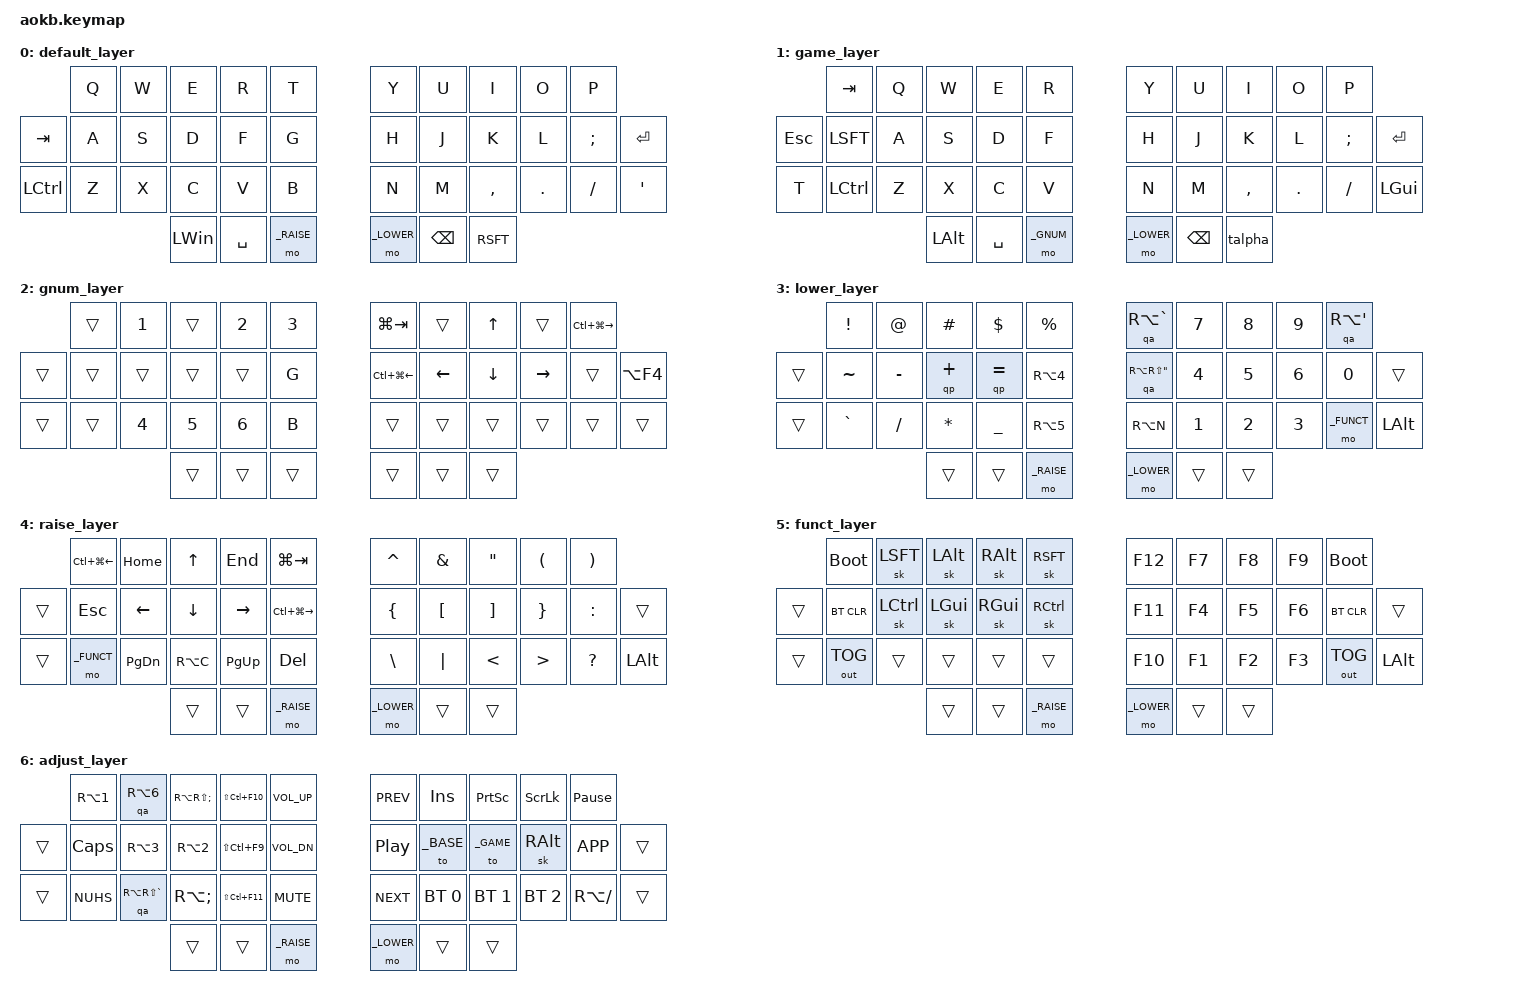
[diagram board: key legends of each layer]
#include <behaviors.dtsi>
#include <dt-bindings/zmk/keys.h>
#include <dt-bindings/zmk/bt.h>
#include <dt-bindings/zmk/outputs.h>

#define _BASE   0
#define _GAME   1
#define _GNUM   2
#define _LOWER  3
#define _RAISE  4
#define _FUNCT  5
#define _ADJUST 6

#define D_MUT LS(LC(F9))
#define D_SIL LS(LC(F11))
#define D_SHS LS(LC(F10))

#define VD_L   LC(LG(LEFT))
#define VD_R   LC(LG(RIGHT))
#define VD_U   LG(TAB)

#define E_IEX   RA(N1)
#define E_IQM   RA(FSLH)

#define E_NN    RA(N)
#define E_CC    RA(C)
#define E_LL    RA(RS(SEMI))
#define E_OF    RA(N2)
#define E_OM    RA(N3)
#define E_DEG   RA(SEMI)
#define E_EUR   RA(N5)
#define E_PND   RA(N4)

#define E_AOB   RA(GRAVE)
#define E_ATC   RA(SQT)
#define E_ACF   RA(N6)
#define E_ADI   RA(RS(DQT))
#define E_ATI   RA(RS(GRAVE))

/ {
    macros {
        talpha: talpha {
            label = "talpha";
            compatible = "zmk,behavior-macro";
            #binding-cells = <0>;
            bindings
                = <&macro_tap &to _BASE>
                , <&macro_pause_for_release>
                , <&macro_tap &to _GAME>
                ;
        };
        
        qp: qp {
            label = "qp";
            compatible = "zmk,behavior-macro-one-param";
            #binding-cells = <1>;
            bindings
                = <&macro_param_1to1>
                , <&macro_tap &kp MACRO_PLACEHOLDER>;
        };
        
        qa: qa {
            label = "qa";
            compatible = "zmk,behavior-macro-one-param";
            #binding-cells = <1>;
            bindings
                = <&macro_param_1to1>
                , <&macro_tap &kp MACRO_PLACEHOLDER>
                , <&macro_tap &to _BASE>;
        };
        
    };
};

/ {
    keymap {
        compatible = "zmk,keymap";

        default_layer {
            bindings = <
//          |           |           |           |           |           |           |           |           |           |           |           |           |           
            &kp Q       &kp W       &kp E       &kp R       &kp T                   &kp Y       &kp U       &kp I       &kp O       &kp P
&kp TAB     &kp A       &kp S       &kp D       &kp F       &kp G                   &kp H       &kp J       &kp K       &kp L       &kp SEMI    &kp RET
&kp LCTL    &kp Z       &kp X       &kp C       &kp V       &kp B                   &kp N       &kp M       &kp COMMA   &kp DOT     &kp FSLH    &kp SQT
                                    &kp LWIN    &kp SPACE   &mo _RAISE              &mo _LOWER  &kp BSPC    &kp RSFT     
            >;
        };

        game_layer {
            bindings = <
//          |           |           |           |           |           |           |           |           |           |           |           |           |           
            &kp TAB     &kp Q       &kp W       &kp E       &kp R                   &kp Y       &kp U       &kp I       &kp O       &kp P                
&kp ESC     &kp LSFT    &kp A       &kp S       &kp D       &kp F                   &kp H       &kp J       &kp K       &kp L       &kp SEMI    &kp RET 
&kp T       &kp LCTL    &kp Z       &kp X       &kp C       &kp V                   &kp N       &kp M       &kp COMMA   &kp DOT     &kp FSLH    &kp LGUI
                                    &kp LALT    &kp SPACE   &mo _GNUM               &mo _LOWER  &kp BSPC    &talpha          
            >;
        };

        gnum_layer {
            bindings = <
//          |           |           |           |           |           |           |           |           |           |           |           |           |           
            &trans      &kp N1      &trans      &kp N2      &kp N3                  &kp VD_U    &trans      &kp UP      &trans      &kp VD_R
&trans      &trans      &trans      &trans      &trans      &kp G                   &kp VD_L    &kp LEFT    &kp DOWN    &kp RIGHT   &trans      &kp LA(F4)
&trans      &trans      &kp N4      &kp N5      &kp N6      &kp B                   &trans      &trans      &trans      &trans      &trans      &trans
                                    &trans      &trans      &trans                  &trans      &trans      &trans    
            >;
        };

        lower_layer {
            bindings = <
//          |           |           |           |           |           |           |           |           |           |           |           |           |           
            &kp EXCL    &kp AT      &kp HASH    &kp DLLR    &kp PRCNT               &qa E_AOB   &kp N7      &kp N8      &kp N9      &qa E_ATC              
&trans      &kp TILDE   &kp MINUS   &qp PLUS    &qp EQUAL   &kp E_PND               &qa E_ADI   &kp N4      &kp N5      &kp N6      &kp N0      &trans    
&trans      &kp GRAVE   &kp FSLH    &kp ASTRK   &kp UNDER   &kp E_EUR               &kp E_NN    &kp N1      &kp N2      &kp N3      &mo _FUNCT  &kp LALT
                                    &trans      &trans      &mo _RAISE              &mo _LOWER  &trans      &trans  
            >;
        };

        raise_layer {
            bindings = <
//          |           |           |           |           |           |           |           |           |           |           |           |           |           
            &kp VD_L    &kp HOME    &kp UP      &kp END     &kp VD_U                &kp CARET   &kp AMPS    &kp DQT     &kp LPAR    &kp RPAR               
&trans      &kp ESC     &kp LEFT    &kp DOWN    &kp RIGHT   &kp VD_R                &kp LBRC    &kp LBKT    &kp RBKT    &kp RBRC    &kp COLON   &trans    
&trans      &mo _FUNCT  &kp PG_DN   &kp E_CC    &kp PG_UP   &kp DEL                 &kp BSLH    &kp PIPE    &kp LT      &kp GT      &kp QMARK   &kp LALT
                                    &trans      &trans      &mo _RAISE              &mo _LOWER  &trans      &trans     
            >;
        };

        funct_layer {
                            bindings = <
//          |           |           |           |           |           |           |           |           |           |           |           |           |           
            &bootloader &sk LSFT    &sk LALT    &sk RALT    &sk RSFT                &kp F12     &kp F7      &kp F8      &kp F9      &bootloader
&trans      &bt BT_CLR  &sk LCTL    &sk LGUI    &sk RGUI    &sk RCTL                &kp F11     &kp F4      &kp F5      &kp F6      &bt BT_CLR  &trans
&trans     &out OUT_TOG &trans      &trans      &trans      &trans                  &kp F10     &kp F1      &kp F2      &kp F3     &out OUT_TOG &kp LALT
                                    &trans      &trans      &mo _RAISE              &mo _LOWER  &trans      &trans
            >;
        };

        adjust_layer {
            bindings = <
//          |           |           |           |           |           |           |           |           |           |           |           |           |           
            &kp E_IEX   &qa E_ACF   &kp E_LL    &kp D_SHS   &kp C_VOL_UP            &kp C_PREV  &kp INS     &kp PSCRN   &kp SLCK    &kp PAUSE_BREAK
&trans      &kp CAPS    &kp E_OM    &kp E_OF    &kp D_MUT   &kp C_VOL_DN            &kp C_PP    &to _BASE   &to _GAME   &sk RALT    &kp K_APP  &trans
&trans      &kp NUHS    &qa E_ATI   &kp E_DEG   &kp D_SIL   &kp C_MUTE              &kp C_NEXT &bt BT_SEL 0 &bt BT_SEL 1 &bt BT_SEL 2 &kp E_IQM &trans  
                                    &trans      &trans      &mo _RAISE              &mo _LOWER  &trans      &trans   
            >;
        };
    };
};

/ {
    conditional_layers {
        compatible = "zmk,conditional-layers";
        tri_layer {
            if-layers = <_LOWER _RAISE>;
            then-layer = <_ADJUST>;
        };
    };
};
